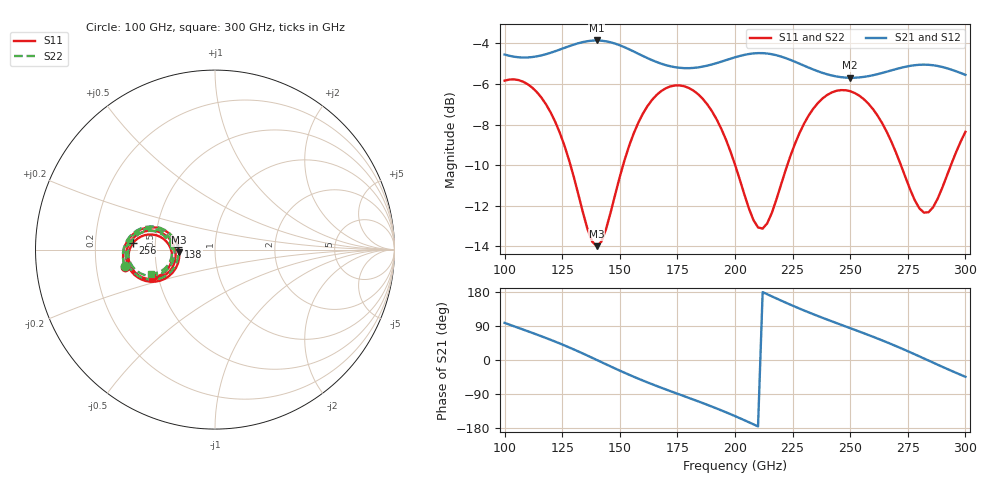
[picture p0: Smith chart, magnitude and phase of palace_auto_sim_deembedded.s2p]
! Created with skrf 1.11.0 (http://scikit-rf.org).
# GHz S DB R 50.0
!freq dBS11 angS11 dBS21 angS21 dBS12 angS12 dBS22 angS22
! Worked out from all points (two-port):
!   101 points, 100 GHz to 300 GHz, reference 50 ohm
!   highest |S21| = -3.86 dB at 140 GHz (marker M1); lowest = -5.7 dB at 250 GHz (marker M2)
!   |S21| within 3 dB of the highest: start of sweep to end of sweep
!   lowest |S11| = -14.0 dB at 140 GHz (marker M3), VSWR 1.50, Z = 33.4 - j1.11 ohm
!   |S11| at or under -10 dB: 128.6 GHz to 151.4 GHz (22.85 GHz wide, 16.3 % of centre); 200.1 GHz to 222.7 GHz (22.63 GHz wide, 10.7 % of centre); 272 GHz to 293.7 GHz (21.7 GHz wide, 7.67 % of centre)
!   |S22| runs from -13.8 to -5.8 dB; largest |S21 - S12| = 6.8e-14
!   S11 on the Smith chart (normalised r, x): 100 GHz: 0.33, -0.09; 138 GHz: 0.66, +0.02; 256 GHz: 0.37, +0.03; 300 GHz: 0.46, -0.17
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100  -5.84 -168.8  -4.55 98.0  -4.55 98.0  -5.83 -169.6
108  -5.89 179.8  -4.70 80.4  -4.70 80.4  -5.88 179.1
118  -7.01 166.8  -4.54 57.9  -4.54 57.9  -6.99 166.1
126  -9.05 159.6  -4.23 38.4  -4.23 38.4  -9.00 159.0
134  -12.33 163.9  -3.94 17.1  -3.94 17.1  -12.20 163.3
138  -13.76 176.1  -3.87 5.8  -3.87 5.8  -13.57 175.1
140  -13.99 -175.4  -3.86 0.2  -3.86 0.2  -13.79 -176.7
146  -12.34 -154.7  -3.95 -16.9  -3.95 -16.9  -12.20 -156.7
154  -9.06 -150.5  -4.29 -38.8  -4.29 -38.8  -9.01 -152.5
168  -6.35 -165.3  -5.00 -73.2  -5.00 -73.2  -6.33 -167.2
186  -6.73 172.1  -5.15 -113.7  -5.15 -113.7  -6.71 170.3
200  -9.97 162.5  -4.69 -148.0  -4.69 -148.0  -9.89 160.9
212  -13.12 -172.8  -4.49 179.1  -4.49 179.1  -12.92 -175.4
224  -9.56 -152.7  -4.82 146.1  -4.82 146.1  -9.50 -155.9
234  -7.22 -159.4  -5.29 120.8  -5.29 120.8  -7.20 -162.5
250  -6.36 -177.7  -5.70 84.1  -5.70 84.1  -6.36 179.2
256  -6.76 175.6  -5.65 70.4  -5.65 70.4  -6.77 172.5
268  -8.88 166.5  -5.33 41.5  -5.33 41.5  -8.90 163.3
276  -11.19 170.3  -5.11 20.5  -5.11 20.5  -11.23 167.1
284  -12.32 -171.1  -5.06 -1.4  -5.06 -1.4  -12.37 -174.3
292  -10.51 -156.4  -5.23 -23.3  -5.23 -23.3  -10.55 -159.6
300  -8.36 -156.1  -5.55 -44.2  -5.55 -44.2  -8.39 -159.4
